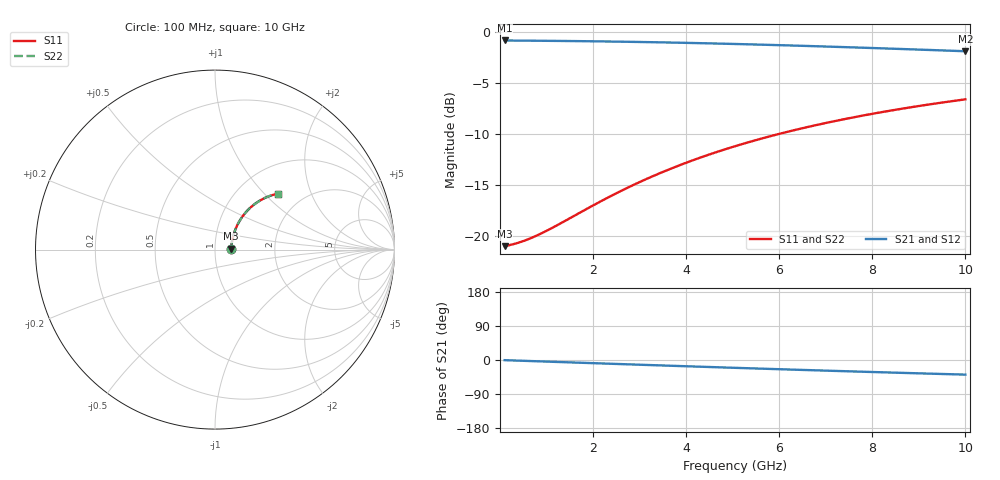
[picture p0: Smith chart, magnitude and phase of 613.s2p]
# Hz S RI R 50.00
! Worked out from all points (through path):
!   100 points, 100 MHz to 10 GHz, reference 50 ohm
!   highest |S21| = -0.81 dB at 100 MHz (marker M1); lowest = -1.9 dB at 10 GHz (marker M2)
!   group delay of S21, straight-line fit = 10.8 ps
!   lowest |S11| = -21.0 dB at 100 MHz (marker M3), VSWR 1.20, Z = 59.8 + j0.577 ohm
!   |S11| at or under -10 dB: start of sweep to 5.969 GHz
!   |S22| runs from -21.0 to -6.6 dB; largest |S21 - S12| = 0
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1e8  0.0894 0.00479  0.9106 -0.00667  0.9106 -0.00667  0.0894 0.00479
3e8  0.0906 0.0143  0.9093 -0.02  0.9093 -0.02  0.0906 0.0143
4e8  0.0912 0.0191  0.9088 -0.0266  0.9088 -0.0266  0.0912 0.0191
6e8  0.0924 0.0285  0.9075 -0.0399  0.9075 -0.0399  0.0924 0.0285
8e8  0.0938 0.038  0.9061 -0.053  0.9061 -0.053  0.0938 0.038
1.2e9  0.0972 0.0566  0.9025 -0.0793  0.9025 -0.0793  0.0972 0.0566
1.8e9  0.1041 0.0841  0.8953 -0.1181  0.8953 -0.1181  0.1041 0.0841
2.2e9  0.1099 0.102  0.8892 -0.1435  0.8892 -0.1435  0.1099 0.102
2.6e9  0.1166 0.1194  0.8821 -0.1685  0.8821 -0.1685  0.1166 0.1194
3e9  0.1243 0.1363  0.874 -0.1929  0.874 -0.1929  0.1243 0.1363
3.4e9  0.1328 0.1526  0.865 -0.2168  0.865 -0.2168  0.1328 0.1526
3.8e9  0.1422 0.1683  0.8551 -0.2401  0.8551 -0.2401  0.1422 0.1683
4.2e9  0.1523 0.1833  0.8443 -0.2627  0.8443 -0.2627  0.1523 0.1833
4.6e9  0.1632 0.1976  0.8328 -0.2847  0.8328 -0.2847  0.1632 0.1976
5.1e9  0.1777 0.2145  0.8173 -0.311  0.8173 -0.311  0.1777 0.2145
5.5e9  0.19 0.227  0.8042 -0.3312  0.8042 -0.3312  0.19 0.227
5.9e9  0.2028 0.2388  0.7906 -0.3507  0.7906 -0.3507  0.2028 0.2388
6.7e9  0.2298 0.2598  0.7617 -0.387  0.7617 -0.387  0.2298 0.2598
7.5e9  0.2581 0.2775  0.7312 -0.4201  0.7312 -0.4201  0.2581 0.2775
8.4e9  0.2909 0.2934  0.6955 -0.4534  0.6955 -0.4534  0.2909 0.2934
9.2e9  0.3206 0.304  0.6631 -0.4796  0.6631 -0.4796  0.3206 0.304
1e10  0.3503 0.3115  0.6303 -0.5028  0.6303 -0.5028  0.3503 0.3115
